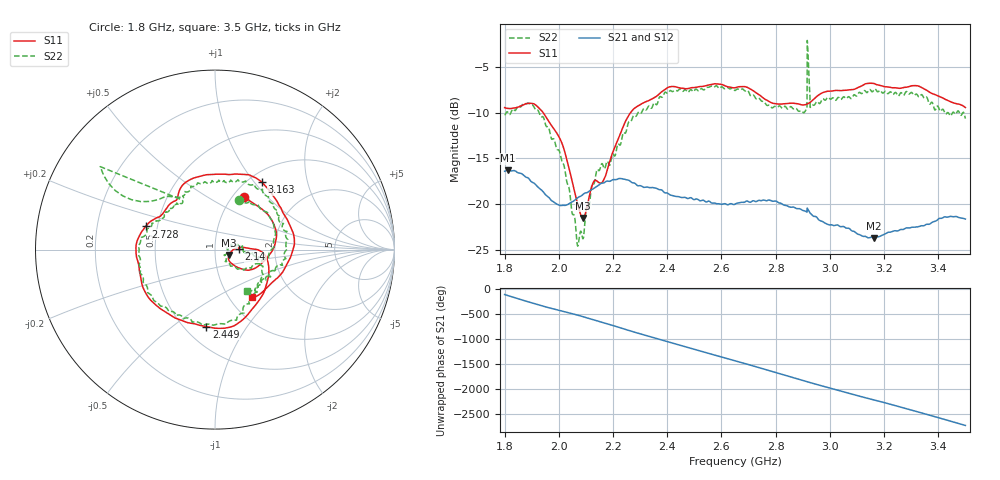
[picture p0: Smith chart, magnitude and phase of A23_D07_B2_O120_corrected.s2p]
! Created with skrf 1.9.0 (http://scikit-rf.org).
# Hz S RI R 50.0
!freq ReS11 ImS11 ReS21 ImS21 ReS12 ImS12 ReS22 ImS22
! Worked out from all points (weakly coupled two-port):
!   1601 points, 1.8 GHz to 3.5 GHz, reference 50 ohm
!   highest |S21| = -16.30 dB at 1.812 GHz (marker M1); lowest = -23.7 dB at 3.162 GHz (marker M2)
!   lowest |S11| = -21.5 dB at 2.09 GHz (marker M3), VSWR 1.18, Z = 58.4 - j3.5 ohm
!   |S11| at or under -10 dB: 1.943 GHz to 2.264 GHz (321.5 MHz wide, 15.3 % of centre)
!   |S22| runs from -24.6 to -2.1 dB; largest |S21 - S12| = 0.0028
!   S11 on the Smith chart (normalised r, x): 1.8 GHz: 1.12, +0.75; 2.14 GHz: 1.31, +0.01; 2.449 GHz: 0.63, -0.67; 2.728 GHz: 0.43, +0.13; 3.163 GHz: 1.15, +1.10; 3.5 GHz: 1.27, -0.76
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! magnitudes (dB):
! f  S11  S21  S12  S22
! 1.8 GHz  -9.4  -16.4  -16.4  -10.2
! 1.812 GHz  -9.5  -16.3  -16.3  -9.9
! 1.883 GHz  -9.0  -17.1  -17.1  -9.0
! 1.941 GHz  -9.9  -18.6  -18.6  -10.4
! 2.013 GHz  -13.4  -20.2  -20.2  -15.4
! 2.068 GHz  -19.8  -19.4  -19.4  -24.4
! 2.084 GHz  -21.4  -19.1  -19.1  -23.2
! 2.09 GHz  -21.5  -18.9  -19.0  -23.8
! 2.14 GHz  -17.5  -18.1  -18.1  -16.3
! 2.167 GHz  -17.3  -17.7  -17.7  -16.1
! 2.264 GHz  -10.0  -17.5  -17.5  -11.0
! 2.367 GHz  -8.0  -18.4  -18.3  -8.6
! 2.449 GHz  -7.3  -19.3  -19.3  -7.4
! 2.65 GHz  -7.2  -20.0  -20.0  -7.6
! 2.728 GHz  -7.8  -19.7  -19.8  -8.5
! 2.904 GHz  -9.1  -20.7  -20.7  -10.0
! 2.925 GHz  -8.9  -20.9  -20.9  -7.5
! 2.934 GHz  -8.7  -21.2  -21.2  -9.1
! 3.162 GHz  -6.8  -23.7  -23.7  -7.5
! 3.163 GHz  -6.8  -23.7  -23.7  -7.5
! 3.217 GHz  -7.2  -23.1  -23.1  -7.8
! 3.5 GHz  -9.4  -21.7  -21.7  -10.6
